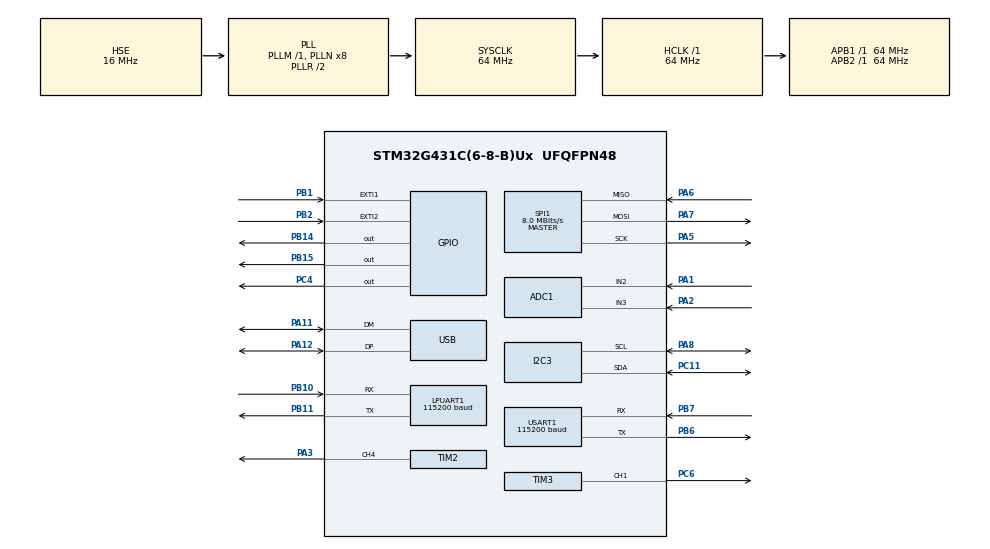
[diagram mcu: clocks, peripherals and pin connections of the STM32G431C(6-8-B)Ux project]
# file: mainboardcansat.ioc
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ADC1.Channel-0\#ChannelRegularConversion=ADC_CHANNEL_VREFINT
ADC1.Channel-1\#ChannelRegularConversion=ADC_CHANNEL_TEMPSENSOR_ADC1
ADC1.Channel-2\#ChannelRegularConversion=ADC_CHANNEL_2
ADC1.Channel-3\#ChannelRegularConversion=ADC_CHANNEL_3
ADC1.ContinuousConvMode=ENABLE
ADC1.EOCSelection=ADC_EOC_SEQ_CONV
ADC1.ExternalTrigConv=ADC_EXTERNALTRIG_T4_TRGO
ADC1.NbrOfConversion=4
ADC1.NbrOfConversionFlag=1
ADC1.OffsetNumber-0\#ChannelRegularConversion=ADC_OFFSET_NONE
ADC1.OffsetNumber-1\#ChannelRegularConversion=ADC_OFFSET_NONE
ADC1.OffsetNumber-2\#ChannelRegularConversion=ADC_OFFSET_NONE
ADC1.OffsetNumber-3\#ChannelRegularConversion=ADC_OFFSET_NONE
ADC1.Rank-0\#ChannelRegularConversion=1
ADC1.Rank-1\#ChannelRegularConversion=2
ADC1.Rank-2\#ChannelRegularConversion=3
ADC1.Rank-3\#ChannelRegularConversion=4
ADC1.SamplingTime-0\#ChannelRegularConversion=ADC_SAMPLETIME_640CYCLES_5
ADC1.SamplingTime-1\#ChannelRegularConversion=ADC_SAMPLETIME_640CYCLES_5
ADC1.SamplingTime-2\#ChannelRegularConversion=ADC_SAMPLETIME_640CYCLES_5
ADC1.SamplingTime-3\#ChannelRegularConversion=ADC_SAMPLETIME_640CYCLES_5
ADC1.master=1
Dma.ADC1.2.Direction=DMA_PERIPH_TO_MEMORY
Dma.ADC1.2.EventEnable=DISABLE
Dma.ADC1.2.Instance=DMA1_Channel3
Dma.ADC1.2.MemDataAlignment=DMA_MDATAALIGN_HALFWORD
Dma.ADC1.2.MemInc=DMA_MINC_ENABLE
Dma.ADC1.2.Mode=DMA_CIRCULAR
Dma.ADC1.2.PeriphDataAlignment=DMA_PDATAALIGN_HALFWORD
Dma.ADC1.2.PeriphInc=DMA_PINC_DISABLE
Dma.ADC1.2.Polarity=HAL_DMAMUX_REQ_GEN_RISING
Dma.ADC1.2.Priority=DMA_PRIORITY_LOW
Dma.ADC1.2.RequestNumber=1
Dma.ADC1.2.SignalID=NONE
Dma.ADC1.2.SyncEnable=DISABLE
Dma.ADC1.2.SyncPolarity=HAL_DMAMUX_SYNC_NO_EVENT
Dma.ADC1.2.SyncRequestNumber=1
Dma.ADC1.2.SyncSignalID=NONE
Dma.LPUART1_RX.0.Direction=DMA_PERIPH_TO_MEMORY
Dma.LPUART1_RX.0.EventEnable=DISABLE
Dma.LPUART1_RX.0.Instance=DMA1_Channel1
Dma.LPUART1_RX.0.MemDataAlignment=DMA_MDATAALIGN_BYTE
Dma.LPUART1_RX.0.MemInc=DMA_MINC_ENABLE
Dma.LPUART1_RX.0.Mode=DMA_NORMAL
Dma.LPUART1_RX.0.PeriphDataAlignment=DMA_PDATAALIGN_BYTE
Dma.LPUART1_RX.0.PeriphInc=DMA_PINC_DISABLE
Dma.LPUART1_RX.0.Polarity=HAL_DMAMUX_REQ_GEN_RISING
Dma.LPUART1_RX.0.Priority=DMA_PRIORITY_LOW
Dma.LPUART1_RX.0.RequestNumber=1
Dma.LPUART1_RX.0.SignalID=NONE
Dma.LPUART1_RX.0.SyncEnable=DISABLE
Dma.LPUART1_RX.0.SyncPolarity=HAL_DMAMUX_SYNC_NO_EVENT
Dma.LPUART1_RX.0.SyncRequestNumber=1
Dma.LPUART1_RX.0.SyncSignalID=NONE
Dma.LPUART1_TX.1.Direction=DMA_MEMORY_TO_PERIPH
Dma.LPUART1_TX.1.EventEnable=DISABLE
Dma.LPUART1_TX.1.Instance=DMA1_Channel2
Dma.LPUART1_TX.1.MemDataAlignment=DMA_MDATAALIGN_BYTE
Dma.LPUART1_TX.1.MemInc=DMA_MINC_ENABLE
Dma.LPUART1_TX.1.Mode=DMA_NORMAL
Dma.LPUART1_TX.1.PeriphDataAlignment=DMA_PDATAALIGN_BYTE
Dma.LPUART1_TX.1.PeriphInc=DMA_PINC_DISABLE
Dma.LPUART1_TX.1.Polarity=HAL_DMAMUX_REQ_GEN_RISING
Dma.LPUART1_TX.1.Priority=DMA_PRIORITY_LOW
Dma.LPUART1_TX.1.RequestNumber=1
Dma.LPUART1_TX.1.SignalID=NONE
Dma.LPUART1_TX.1.SyncEnable=DISABLE
Dma.LPUART1_TX.1.SyncPolarity=HAL_DMAMUX_SYNC_NO_EVENT
Dma.LPUART1_TX.1.SyncRequestNumber=1
Dma.LPUART1_TX.1.SyncSignalID=NONE
Dma.Request0=LPUART1_RX
Dma.Request1=LPUART1_TX
Dma.Request2=ADC1
Dma.Request3=USART1_RX
Dma.USART1_RX.3.Direction=DMA_PERIPH_TO_MEMORY
Dma.USART1_RX.3.EventEnable=DISABLE
Dma.USART1_RX.3.Instance=DMA1_Channel4
Dma.USART1_RX.3.MemDataAlignment=DMA_MDATAALIGN_BYTE
Dma.USART1_RX.3.MemInc=DMA_MINC_ENABLE
Dma.USART1_RX.3.Mode=DMA_CIRCULAR
Dma.USART1_RX.3.PeriphDataAlignment=DMA_PDATAALIGN_BYTE
Dma.USART1_RX.3.PeriphInc=DMA_PINC_DISABLE
Dma.USART1_RX.3.Polarity=HAL_DMAMUX_REQ_GEN_RISING
Dma.USART1_RX.3.Priority=DMA_PRIORITY_LOW
Dma.USART1_RX.3.RequestNumber=1
Dma.USART1_RX.3.SignalID=NONE
Dma.USART1_RX.3.SyncEnable=DISABLE
Dma.USART1_RX.3.SyncPolarity=HAL_DMAMUX_SYNC_NO_EVENT
Dma.USART1_RX.3.SyncRequestNumber=1
Dma.USART1_RX.3.SyncSignalID=NONE
I2C3.Timing=0x10B17DB5
LPUART1.BaudRate=115200
Mcu.Family=STM32G4
Mcu.Name=STM32G431C(6-8-B)Ux
Mcu.Package=UFQFPN48
NVIC.DMA1_Channel1_IRQn=true\:0\:0\:false\:false\:true\:false\:true\:true
NVIC.DMA1_Channel2_IRQn=true\:0\:0\:false\:false\:true\:false\:true\:true
NVIC.DMA1_Channel3_IRQn=true\:0\:0\:false\:false\:true\:false\:true\:true
NVIC.DMA1_Channel4_IRQn=true\:0\:0\:false\:false\:true\:false\:true\:true
NVIC.EXTI1_IRQn=true\:0\:0\:false\:false\:true\:true\:true\:true
NVIC.EXTI2_IRQn=true\:0\:0\:false\:false\:true\:true\:true\:true
NVIC.LPUART1_IRQn=true\:0\:0\:false\:false\:true\:true\:true\:true
NVIC.PriorityGroup=NVIC_PRIORITYGROUP_4
NVIC.USART1_IRQn=true\:0\:0\:false\:false\:true\:true\:true\:true
PA1.Mode=IN2-Single-Ended
PA1.Signal=ADC1_IN2
PA11.Mode=Device
PA11.Signal=USB_DM
PA12.Mode=Device
PA12.Signal=USB_DP
PA13.Mode=Trace_Asynchronous_SW
PA13.Signal=SYS_JTMS-SWDIO
PA14.Mode=Trace_Asynchronous_SW
PA14.Signal=SYS_JTCK-SWCLK
PA2.Mode=IN3-Single-Ended
PA2.Signal=ADC1_IN3
PA3.Signal=S_TIM2_CH4
PA5.Mode=Full_Duplex_Master
PA5.Signal=SPI1_SCK
PA6.Mode=Full_Duplex_Master
PA6.Signal=SPI1_MISO
PA7.Mode=Full_Duplex_Master
PA7.Signal=SPI1_MOSI
PA8.Mode=I2C
PA8.Signal=I2C3_SCL
PB1.Signal=GPXTI1
PB10.Mode=Asynchronous
PB10.Signal=LPUART1_RX
PB11.Mode=Asynchronous
PB11.Signal=LPUART1_TX
PB14.Signal=GPIO_Output
PB15.Signal=GPIO_Output
PB2.Signal=GPXTI2
PB3.Mode=Trace_Asynchronous_SW
PB3.Signal=SYS_JTDO-SWO
PB6.Mode=Asynchronous
PB6.Signal=USART1_TX
PB7.Mode=Asynchronous
PB7.Signal=USART1_RX
PC11.Mode=I2C
PC11.Signal=I2C3_SDA
PC4.Signal=GPIO_Output
PC6.Signal=S_TIM3_CH1
PF0-OSC_IN.Mode=HSE-External-Oscillator
PF0-OSC_IN.Signal=RCC_OSC_IN
PF1-OSC_OUT.Mode=HSE-External-Oscillator
PF1-OSC_OUT.Signal=RCC_OSC_OUT
ProjectManager.HeapSize=0x200
ProjectManager.StackSize=0x400
ProjectManager.TargetToolchain=STM32CubeIDE
RCC.ADC12Freq_Value=64000000
RCC.AHBFreq_Value=64000000
RCC.APB1Freq_Value=64000000
RCC.APB1TimFreq_Value=64000000
RCC.APB2Freq_Value=64000000
RCC.APB2TimFreq_Value=64000000
RCC.CK48CLockSelection=RCC_USBCLKSOURCE_HSI48
RCC.CortexFreq_Value=64000000
RCC.EXTERNAL_CLOCK_VALUE=12288000
RCC.HCLKFreq_Value=64000000
RCC.HSE_VALUE=16000000
RCC.HSI48_VALUE=48000000
RCC.HSI_VALUE=16000000
RCC.LSE_VALUE=32768
RCC.PLLSourceVirtual=RCC_PLLSOURCE_HSE
RCC.SYSCLKFreq_VALUE=64000000
RCC.SYSCLKSource=RCC_SYSCLKSOURCE_PLLCLK
RCC.USART1CLockSelection=RCC_USART1CLKSOURCE_HSI
RCC.USBFreq_Value=48000000
RCC.VCOOutputFreq_Value=128000000
SH.S_TIM2_CH4.0=TIM2_CH4,PWM Generation4 CH4
SH.S_TIM3_CH1.0=TIM3_CH1,PWM Generation1 CH1
SPI1.BaudRatePrescaler=SPI_BAUDRATEPRESCALER_8
SPI1.CalculateBaudRate=8.0 MBits/s
SPI1.DataSize=SPI_DATASIZE_8BIT
SPI1.Direction=SPI_DIRECTION_2LINES
SPI1.Mode=SPI_MODE_MASTER
SPI1.VirtualType=VM_MASTER
TIM2.Channel-PWM\ Generation4\ CH4=TIM_CHANNEL_4
TIM3.Channel-PWM\ Generation1\ CH1=TIM_CHANNEL_1
TIM4.PeriodNoDither=100-1
TIM4.Prescaler=64000-1
TIM4.TIM_MasterOutputTrigger=TIM_TRGO_UPDATE
USART1.BaudRate=115200
USART1.VirtualMode-Asynchronous=VM_ASYNC
VP_ADC1_TempSens_Input.Mode=IN-TempSens
VP_ADC1_Vref_Input.Mode=IN-Vrefint
VP_FATFS_VS_Generic.Mode=User_defined
VP_SYS_VS_DBSignals.Mode=DisableDeadBatterySignals
VP_TIM2_VS_ClockSourceINT.Mode=Internal
VP_TIM3_VS_ClockSourceINT.Mode=Internal
VP_TIM4_VS_ClockSourceINT.Mode=Internal
board=custom

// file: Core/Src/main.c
/* USER CODE BEGIN Header */
/**
  ******************************************************************************
  * @file           : main.c
  * @brief          : Main program body
  ******************************************************************************
  * @attention
  *
  * Copyright (c) 2024 STMicroelectronics.
  * All rights reserved.
  *
  * This software is licensed under terms that can be found in the LICENSE file
  * in the root directory of this software component.
  * If no LICENSE file comes with this software, it is provided AS-IS.
  *
  ******************************************************************************
  */
/* USER CODE END Header */
#include "main.h"
#include "adc.h"
#include "dma.h"
#include "app_fatfs.h"
#include "i2c.h"
#include "usart.h"
#include "spi.h"
#include "tim.h"
#include "usb.h"
#include "gpio.h"

/* USER CODE BEGIN Includes */
#include "fatfs_sd.h"
#include "nmea_parse.h"
/* USER CODE END Includes */

/* USER CODE BEGIN PV */
FATFS fs;
FATFS *pfs;
FIL fil;
FRESULT fres;
DWORD fre_clust;
uint32_t total, free1;
char buffer[100];

uint8_t tarvos_TX_Buffer[TarvosTxBufferSize];
uint8_t tarvos_TX_Tampon[TarvosTxTamponSize];
uint8_t tarvos_RX_Buffer[TarvosRxBufferSize];
uint8_t tarvos_RX_Tampon[TarvosRxTamponSize];
uint8_t GPS_RX_Buffer[GPSRxBufferSize];
uint8_t GPS_RX_Tampon[GPSRxTamponSize];

uint8_t SD_Card_Write_Buffer[256];

int GPSbufferoldpos=0;
int GPSbuffernewpos=0;
int TarvosRXbufferoldpos=0;
int TarvosRXbuffernewpos=0;

uint8_t commandtarvos[]={0x02,0x00,};

uint16_t rawADCdata[5];
float temp=0;
float vrefint=0;
float vbat=0;
float current=0;
float power=0;
float vexternalsensor=0;

extern ADC_HandleTypeDef hadc1;

/* USER CODE END PV */

void SystemClock_Config(void);

int main(void)
{

  /* MCU Configuration--------------------------------------------------------*/

  /* Reset of all peripherals, Initializes the Flash interface and the Systick. */
  HAL_Init();

  /* Configure the system clock */
  SystemClock_Config();

  /* Initialize all configured peripherals */
  MX_GPIO_Init();
  MX_DMA_Init();
  MX_SPI1_Init();
  MX_USB_PCD_Init();
  if (MX_FATFS_Init() != APP_OK) {
    Error_Handler();
  }
  MX_I2C3_Init();
  MX_LPUART1_UART_Init();
  MX_ADC1_Init();
  MX_USART1_UART_Init();
  MX_TIM3_Init();
  MX_TIM4_Init();
  MX_TIM2_Init();
  /* USER CODE BEGIN 2 */

  HAL_ADC_Start_DMA(&hadc1,(uint16_t*)rawADCdata, 5);
//  HAL_ADC_Start_DMA(&hadc2,(uint16_t*)rawADCdata+4, 1);
  HAL_TIM_Base_Start(&htim4);

  HAL_GPIO_WritePin(GPIOB,GPIO_PIN_15,GPIO_PIN_SET);

  HAL_Delay(100);
  HAL_UART_Abort(&huart1);
  HAL_UART_Receive_DMA(&huart1, (uint8_t *)GPS_RX_Tampon, GPSRxTamponSize);

  HAL_Delay(100);
    HAL_UART_Abort(&hlpuart1);
    HAL_UART_Receive_DMA(&hlpuart1, (uint8_t *)tarvos_RX_Tampon, TarvosRxTamponSize);

  f_mount(&fs, "", 0);

// f_open(&fil, "debut.txt", FA_OPEN_ALWAYS | FA_READ | FA_WRITE);
//
// f_getfree("", &fre_clust, &pfs);
//
//  total = (uint32_t)((pfs->n_fatent - 2) * pfs->csize * 0.5);
//  free1 = (uint32_t)(fre_clust * pfs->csize * 0.5);
//
//  snprintf((uint8_t *) SD_Card_Write_Buffer,256,"adc1=%d,adc2=%d,adc3=%d,adc4=%d,adc5=%d\n\r",rawADCdata[0],rawADCdata[1],rawADCdata[2],rawADCdata[3],rawADCdata[4]);
//
//  f_puts("test", &fil);
//  f_puts((uint8_t *) SD_Card_Write_Buffer, &fil);
//  snprintf((uint8_t *) SD_Card_Write_Buffer,256,"adc1=%d,adc2=%d,adc3=%d,adc4=%d,adc5=%d\n\r",rawADCdata[0],rawADCdata[1],rawADCdata[2],rawADCdata[3],rawADCdata[4]);
//  f_puts((uint8_t *) SD_Card_Write_Buffer, &fil);
//  f_close(&fil);
//  /* Unmount SDCARD */
//  f_mount(NULL, "", 1);

  int indexboucle=0;
  int tarvosen=0;
  f_open(&fil, "adc.txt", FA_OPEN_ALWAYS | FA_READ | FA_WRITE);

  		   f_getfree("", &fre_clust, &pfs);

  /* USER CODE END 2 */

  /* Infinite loop */
  /* USER CODE BEGIN WHILE */
  while (1)
  {

	  if(indexboucle<=50){

		  snprintf((uint8_t *) SD_Card_Write_Buffer,256,"adc1=%d,adc2=%d,adc3=%d,adc4=%d,adc5=%d\n\r",rawADCdata[0],rawADCdata[1],rawADCdata[2],rawADCdata[3],rawADCdata[4]);
		   f_puts((uint8_t *) SD_Card_Write_Buffer, &fil);

		  indexboucle++;
		  HAL_Delay(100);
	  }
	  else{

		  if(indexboucle<=51){
			  f_close(&fil);
		  f_mount(NULL, "", 1);
		  indexboucle++;
		  tarvosen=1;

		  }

		  HAL_GPIO_TogglePin(GPIOB,GPIO_PIN_14);
		  HAL_Delay(500);

	  }

	  if(tarvosen==1){

		  HAL_UART_Transmit(&hlpuart1,"caca",sizeof("caca"),100);
		  HAL_Delay(1000);
	  }

    /* USER CODE END WHILE */

  }
}

void SystemClock_Config(void)
{
  RCC_OscInitTypeDef RCC_OscInitStruct = {0};
  RCC_ClkInitTypeDef RCC_ClkInitStruct = {0};

  /** Configure the main internal regulator output voltage
  */
  HAL_PWREx_ControlVoltageScaling(PWR_REGULATOR_VOLTAGE_SCALE1);

  /** Initializes the RCC Oscillators according to the specified parameters
  * in the RCC_OscInitTypeDef structure.
  */
  RCC_OscInitStruct.OscillatorType = RCC_OSCILLATORTYPE_HSI|RCC_OSCILLATORTYPE_HSI48
                              |RCC_OSCILLATORTYPE_HSE;
  RCC_OscInitStruct.HSEState = RCC_HSE_ON;
  RCC_OscInitStruct.HSIState = RCC_HSI_ON;
  RCC_OscInitStruct.HSICalibrationValue = RCC_HSICALIBRATION_DEFAULT;
  RCC_OscInitStruct.HSI48State = RCC_HSI48_ON;
  RCC_OscInitStruct.PLL.PLLState = RCC_PLL_ON;
  RCC_OscInitStruct.PLL.PLLSource = RCC_PLLSOURCE_HSE;
  RCC_OscInitStruct.PLL.PLLM = RCC_PLLM_DIV1;
  RCC_OscInitStruct.PLL.PLLN = 8;
  RCC_OscInitStruct.PLL.PLLP = RCC_PLLP_DIV2;
  RCC_OscInitStruct.PLL.PLLQ = RCC_PLLQ_DIV2;
  RCC_OscInitStruct.PLL.PLLR = RCC_PLLR_DIV2;
  if (HAL_RCC_OscConfig(&RCC_OscInitStruct) != HAL_OK)
  {
    Error_Handler();
  }

  /** Initializes the CPU, AHB and APB buses clocks
  */
  RCC_ClkInitStruct.ClockType = RCC_CLOCKTYPE_HCLK|RCC_CLOCKTYPE_SYSCLK
                              |RCC_CLOCKTYPE_PCLK1|RCC_CLOCKTYPE_PCLK2;
  RCC_ClkInitStruct.SYSCLKSource = RCC_SYSCLKSOURCE_PLLCLK;
  RCC_ClkInitStruct.AHBCLKDivider = RCC_SYSCLK_DIV1;
  RCC_ClkInitStruct.APB1CLKDivider = RCC_HCLK_DIV1;
  RCC_ClkInitStruct.APB2CLKDivider = RCC_HCLK_DIV1;

  if (HAL_RCC_ClockConfig(&RCC_ClkInitStruct, FLASH_LATENCY_2) != HAL_OK)
  {
    Error_Handler();
  }
}

void Error_Handler(void)
{
  __disable_irq();
  while (1)
  {
  }
}
